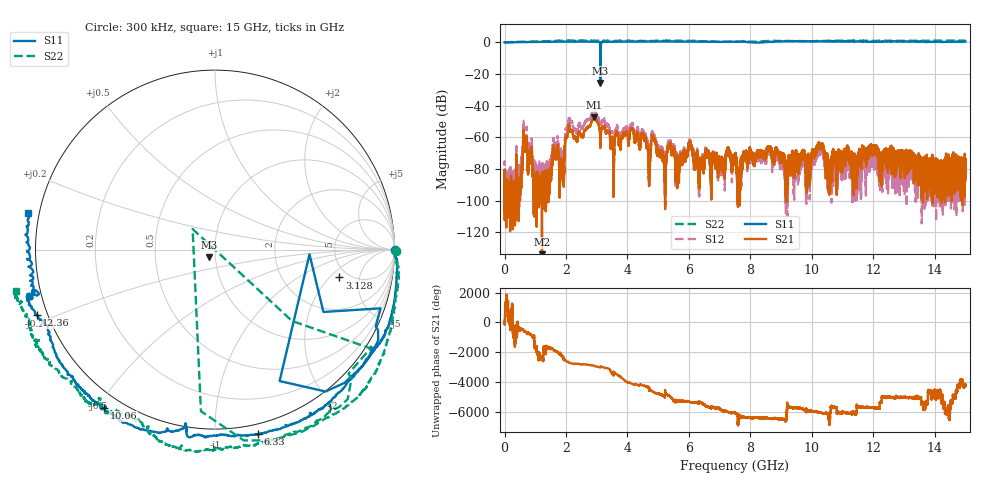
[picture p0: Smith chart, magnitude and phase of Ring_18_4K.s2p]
!Agilent Technologies,N5230C,SG49000117,A.08.50.07
!Agilent N5230C: A.08.50.07
!Date: Wednesday, May 08, 2024 00:00:53
!Correction: S11(Full 2 Port(1,2))
!S21(Full 2 Port(1,2))
!S12(Full 2 Port(1,2))
!S22(Full 2 Port(1,2))
!S2P File: Measurements: S11, S21, S12, S22:
# Hz S  MA  R 50
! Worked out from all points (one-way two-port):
!   20001 points, 300 kHz to 15 GHz, reference 50 ohm
!   highest |S21| = -47.45 dB at 2.918 GHz (marker M1); lowest = -143.7 dB at 1.218 GHz (marker M2)
!   lowest |S11| = -25.6 dB at 3.118 GHz (marker M3), VSWR 1.11, Z = 46.7 - j3.85 ohm
!   |S11| at or under -10 dB: 3.117167 GHz to 3.119108 GHz (1.941 MHz wide, 0.0622 % of centre)
!   |S22| runs from -19.9 to 1.2 dB; largest |S21 - S12| = 0.0038
!   S11 on the Smith chart (normalised r, x): 300 kHz: open; 3.128 GHz: 4.18, -2.61; 6.33 GHz: -0.07, -1.26; 10.06 GHz: -0.05, -0.52; 12.36 GHz: -0.03, -0.18; 15 GHz: -0.03, +0.10
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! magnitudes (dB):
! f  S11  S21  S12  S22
! 300 kHz  0.0  -86.1  -82.9  0.1
! 477.3 MHz  0.2  -96.2  -84.2  0.3
! 664.8 MHz  0.2  -68.4  -63.3  0.4
! 1.218 GHz  0.3  -143.7  -86.4  0.7
! 1.654 GHz  0.4  -71.7  -67.2  0.9
! 1.869 GHz  0.5  -75.8  -71.1  1.0
! 2.121 GHz  0.4  -54.4  -49.3  1.1
! 2.501 GHz  0.5  -59.8  -54.4  1.2
! 2.918 GHz  0.4  -47.5  -43.2  1.0
! 3.118 GHz  -25.6  -66.3  -67.0  -4.0
! 3.128 GHz  -3.0  -58.5  -54.7  -5.9
! 3.51 GHz  0.4  -61.5  -58.4  0.8
! 5 GHz  0.6  -68.7  -67.5  1.0
! 5.624 GHz  0.5  -81.7  -77.3  1.0
! 6.045 GHz  0.5  -63.5  -62.7  0.9
! 6.33 GHz  0.5  -92.8  -82.2  0.8
! 7.5 GHz  0.4  -71.7  -71.8  0.5
! 10 GHz  0.6  -71.6  -73.8  0.7
! 10.06 GHz  0.7  -70.1  -74.2  0.8
! 12.36 GHz  0.5  -70.5  -77.1  1.0
! 12.5 GHz  0.6  -73.2  -85.1  1.0
! 15 GHz  0.6  -74.2  -87.7  1.1
